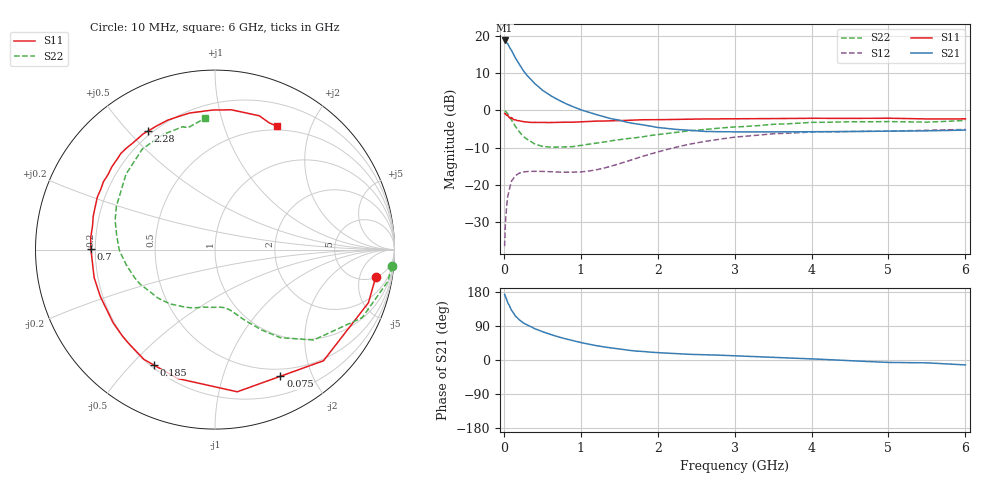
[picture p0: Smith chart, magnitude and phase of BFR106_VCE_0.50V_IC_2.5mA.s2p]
! Infineon Technologies  Discrete & RF Semiconductors
! BFR106
! VCE = 0.50 V,  IC =  2.5 mA
! Common Emitter S-Parameters:  Nov 2015
# GHz  S  MA  R  50
!  f  S11  S21  S12  S22
! GHz  MAG  ANG  MAG  ANG  MAG  ANG  MAG  ANG
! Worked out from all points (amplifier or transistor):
!   210 points, 10 MHz to 6 GHz, reference 50 ohm
!   highest |S21| = 18.8 dB at 10 MHz (marker M1)
!   |S21| within 3 dB of that: start of sweep to 108 MHz
!   unconditionally stable (mu >= 1): 690.7 MHz to end of sweep
!   at 185 MHz: K = 0.29, MSG = 15.0 dB, |S12| = -17.0 dB
!   at 1.52 GHz: K = 1.31, MAG = 2.4 dB, |S12| = -14.2 dB
!   at 6 GHz: K = 1.03, MAG = -1.1 dB, |S12| = -5.1 dB
!   S11 on the Smith chart (normalised r, x): 10 MHz: 5, -9; 75 MHz: 0.41, -1.56; 185 MHz: 0.21, -0.58; 700 MHz: 0.18, +0.00; 2.28 GHz: 0.18, +0.57; 6 GHz: 0.46, +1.53
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0.01  0.9082 -9.7  8.668 173.3  0.0151 85.5  0.991 -5.4
0.02  0.9048 -19.1  8.573 168.2  0.0299 80.5  0.9787 -10.5
0.05  0.8654 -45.7  7.853 151.3  0.0696 64.4  0.9037 -24.8
0.075  0.7942 -62.7  7.002 142.2  0.0901 53.8  0.8149 -32.8
0.1  0.8018 -81.1  6.371 131.0  0.1126 47.3  0.7456 -42.5
0.15  0.7478 -106.1  5.055 115.9  0.1334 36.0  0.611 -53.4
0.185  0.7277 -117.8  4.41 109.5  0.1405 31.3  0.5452 -57.7
0.2  0.7287 -122.9  4.154 106.2  0.1438 29.5  0.5181 -59.8
0.24  0.7102 -132.8  3.583 100.0  0.148 25.7  0.4634 -63.8
0.26  0.7056 -137.1  3.347 97.1  0.1496 24.3  0.4422 -65.7
0.32  0.6942 -146.9  2.818 90.8  0.1518 21.6  0.3998 -69.7
0.4  0.6903 -157.7  2.3 82.7  0.153 19.0  0.3553 -74.6
0.5  0.6913 -166.9  1.871 74.6  0.1521 17.9  0.3294 -79.8
0.7  0.6915 179.5  1.394 61.4  0.1487 19.3  0.3221 -90.8
1.02  0.7044 163.7  1.005 45.4  0.1501 28.7  0.3416 -108.5
1.4  0.7277 148.7  0.771 31.7  0.179 41.2  0.3924 -129.4
2.02  0.7502 127.4  0.587 19.2  0.2807 45.5  0.4761 -161.6
2.28  0.7588 119.5  0.552 16.4  0.3281 42.6  0.512 -173.9
3.1  0.773 98.6  0.515 10.3  0.4461 27.8  0.6057 152.8
4.1  0.7828 82.1  0.518 2.1  0.5131 10.2  0.6917 123.5
5.1  0.7814 70.7  0.527 -6.6  0.5299 -2.3  0.705 104.3
6  0.7695 63.1  0.545 -13.0  0.5555 -11.1  0.7337 94.4
